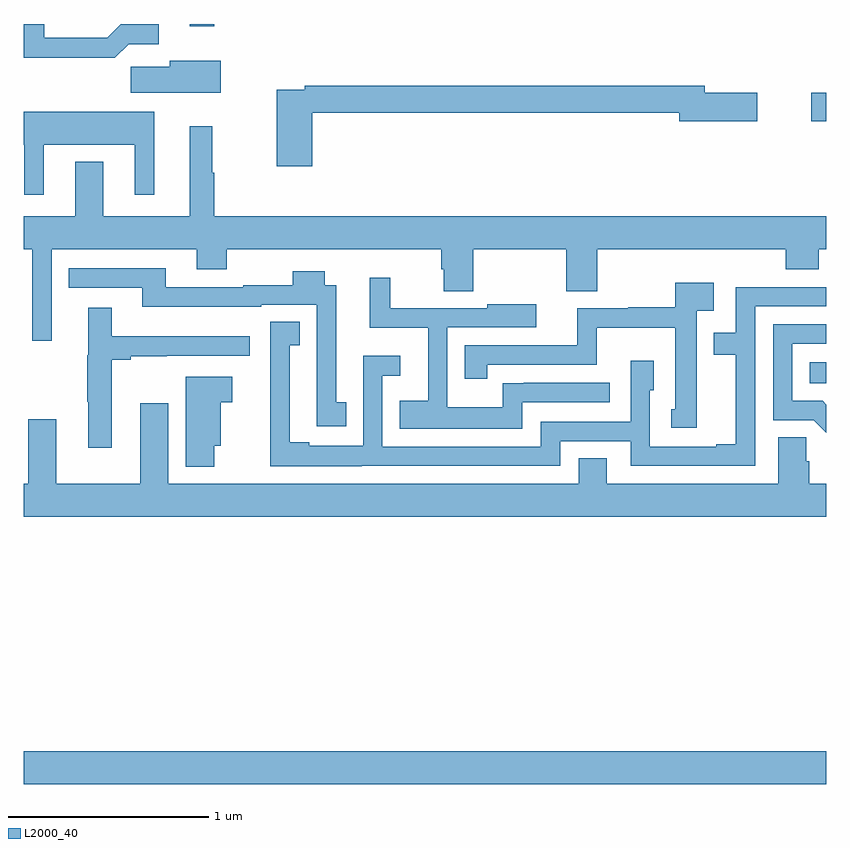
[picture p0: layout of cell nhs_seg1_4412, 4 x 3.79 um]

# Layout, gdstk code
import gdstk
lib = gdstk.Library(unit=1e-6, precision=1e-09)
def R(c, l, rs):  # rectangles x0, y0, x1, y1
    for r in rs: c.add(gdstk.rectangle(r[:2], r[2:], *l))
def P(c, l, *ps):  # polygons
    for p in ps: c.add(gdstk.Polygon(p, *l))
L2000_40 = (2000, 40)

nhs_seg1_4412 = lib.new_cell('nhs_seg1_4412')
R(nhs_seg1_4412, L2000_40, [(351,538.412,355,538.576), (354.916,540.41,355,540.514), (354.924,541.714,355,541.856), (351.827,542.187,351.949,542.199)])
P(nhs_seg1_4412, L2000_40, [(351.524,542.099),(351.673,542.099),(351.673,542.199),(351.533,542.199),(351.533,542.197),(351.484,542.197),(351.417,542.13),(351.103,542.13),(351.103,542.199),(351,542.199),(351,542.032),(351.199,542.032),(351.199,542.03),(351.455,542.03)],
  [(351.982,542.017),(351.728,542.017),(351.728,541.985),(351.534,541.985),(351.534,541.856),(351.982,541.856)],
  [(352.439,541.756),(354.266,541.756),(354.266,541.714),(354.655,541.714),(354.655,541.856),(354.394,541.856),(354.394,541.892),(352.402,541.892),(352.402,541.872),(352.261,541.872),(352.261,541.491),(352.439,541.491)],
  [(351.1,541.598),(351.554,541.598),(351.554,541.347),(351.652,541.347),(351.652,541.762),(351,541.762),(351,541.598),(351.002,541.598),(351.002,541.347),(351.1,541.347)],
  [(351.827,541.24),(351.397,541.24),(351.397,541.513),(351.257,541.513),(351.257,541.24),(351,541.24),(351,541.076),(351.044,541.076),(351.044,540.621),(351.141,540.621),(351.141,541.076),(351.863,541.076),(351.863,540.977),(352.011,540.977),(352.011,541.076),(353.081,541.076),(353.081,540.978),(353.093,540.978),(353.093,540.868),(353.241,540.868),(353.241,541.076),(353.704,541.076),(353.704,540.868),(353.859,540.868),(353.859,541.076),(354.797,541.076),(354.797,540.977),(354.962,540.977),(354.962,541.076),(355,541.076),(355,541.24),(351.949,541.24),(351.949,541.457),(351.941,541.457),(351.941,541.69),(351.827,541.69)],
  [(352.607,540.315),(352.558,540.315),(352.558,540.897),(352.501,540.897),(352.501,540.967),(352.342,540.967),(352.342,540.898),(352.095,540.898),(352.095,540.888),(351.709,540.888),(351.709,540.981),(351.226,540.981),(351.226,540.885),(351.59,540.885),(351.59,540.791),(352.185,540.791),(352.185,540.801),(352.461,540.801),(352.461,540.518),(352.46,540.518),(352.46,540.195),(352.607,540.195)],
  [(353.484,540.315),(353.92,540.315),(353.92,540.411),(353.491,540.411),(353.491,540.41),(353.388,540.41),(353.388,540.289),(353.112,540.289),(353.112,540.687),(353.554,540.687),(353.554,540.802),(353.309,540.802),(353.309,540.783),(352.826,540.783),(352.826,540.934),(352.724,540.934),(352.724,540.686),(353.015,540.686),(353.015,540.322),(352.873,540.322),(352.873,540.182),(353.484,540.182)],
  [(354.355,540.674),(354.354,540.674),(354.354,540.77),(354.439,540.77),(354.439,540.91),(354.246,540.91),(354.246,540.788),(354.012,540.788),(354.012,540.783),(353.759,540.783),(353.759,540.597),(353.197,540.597),(353.197,540.432),(353.31,540.432),(353.31,540.501),(353.857,540.501),(353.857,540.686),(354.248,540.686),(354.248,540.279),(354.227,540.279),(354.227,540.186),(354.355,540.186)],
  [(352.685,539.997),(353.673,539.997),(353.673,540.12),(354.024,540.12),(354.024,539.997),(354.645,539.997),(354.645,540.792),(355,540.792),(355,540.888),(354.549,540.888),(354.549,540.66),(354.44,540.66),(354.44,540.552),(354.548,540.552),(354.548,540.106),(354.452,540.106),(354.452,540.093),(354.12,540.093),(354.12,540.375),(354.139,540.375),(354.139,540.52),(354.024,540.52),(354.024,540.216),(353.577,540.216),(353.577,540.093),(352.788,540.093),(352.788,540.446),(352.876,540.446),(352.876,540.547),(352.692,540.547),(352.692,540.097),(352.423,540.097),(352.423,540.115),(352.327,540.115),(352.327,540.598),(352.376,540.598),(352.376,540.716),(352.23,540.716),(352.23,540.449),(352.228,540.449),(352.228,539.996),(352.685,539.996)],
  [(351.439,540.526),(351.535,540.526),(351.535,540.544),(351.713,540.544),(351.713,540.546),(352.126,540.546),(352.126,540.643),(351.439,540.643),(351.439,540.784),(351.323,540.784),(351.323,540.549),(351.316,540.549),(351.316,540.316),(351.323,540.316),(351.323,540.087),(351.439,540.087)],
  [(355,540.303),(354.982,540.321),(354.831,540.321),(354.831,540.606),(355,540.606),(355,540.702),(354.735,540.702),(354.735,540.225),(354.936,540.225),(355,540.162)],
  [(351.949,540.098),(351.982,540.098),(351.982,540.313),(352.039,540.313),(352.039,540.442),(351.809,540.442),(351.809,539.993),(351.949,539.993)],
  [(355,539.908),(354.914,539.908),(354.914,540.02),(354.899,540.02),(354.899,540.14),(354.761,540.14),(354.761,539.908),(353.905,539.908),(353.905,540.035),(353.765,540.035),(353.765,539.908),(351.721,539.908),(351.721,540.31),(351.581,540.31),(351.581,539.908),(351.163,539.908),(351.163,540.229),(351.023,540.229),(351.023,539.908),(351,539.908),(351,539.744),(355,539.744)])

lib.write_gds('nhs_seg1_4412.gds')
